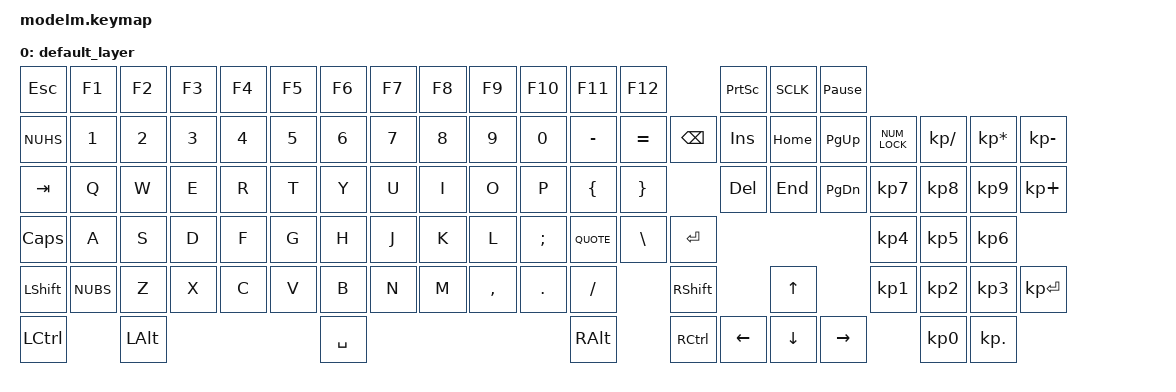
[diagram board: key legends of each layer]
#include <behaviors.dtsi>
#include <dt-bindings/zmk/keys.h>
#include <dt-bindings/zmk/bt.h>

/ {
	keymap {
		compatible = "zmk,keymap";
		
		default_layer {
			bindings = <
			&kp ESC      &kp F1    &kp F2    &kp F3   &kp F4   &kp F5   &kp F6     &kp F7   &kp F8   &kp F9     &kp F10  &kp F11    &kp F12                     &kp PSCRN   &kp SCLK  &kp PAUSE_BREAK
			
			&kp NUHS     &kp 1     &kp 2     &kp 3    &kp 4    &kp 5    &kp 6      &kp 7    &kp 8    &kp 9      &kp 0    &kp MINUS  &kp EQUAL  &kp BACKSPACE    &kp INSERT  &kp HOME  &kp PAGE_UP      &kp NUM_LOCK    &kp KP_SLASH  &kp KP_ASTERISK  &kp KP_MINUS
			&kp TAB      &kp Q     &kp W     &kp E    &kp R    &kp T    &kp Y      &kp U    &kp I    &kp O      &kp P    &kp LBRC   &kp RBRC                    &kp DELETE  &kp END   &kp PAGE_DOWN    &kp KP_7        &kp KP_8      &kp KP_9         &kp KP_PLUS
			&kp CAPS     &kp A     &kp S     &kp D    &kp F    &kp G    &kp H      &kp J    &kp K    &kp L      &kp SEMI &kp QUOTE  &kp BSLH   &kp ENTER                                               &kp KP_4        &kp KP_5      &kp KP_6
			&kp LSHIFT   &kp NUBS  &kp Z     &kp X    &kp C    &kp V    &kp B      &kp N    &kp M    &kp COMMA  &kp DOT  &kp SLASH             &kp RSHIFT                   &kp UP                     &kp KP_1        &kp KP_2      &kp KP_3         &kp KP_ENTER
			&kp LCTRL              &kp LALT                             &kp SPACE                                        &kp RALT              &kp RCTRL        &kp LEFT    &kp DOWN  &kp RIGHT                        &kp KP_0      &kp KP_DOT
			>;
		};
	};
};
